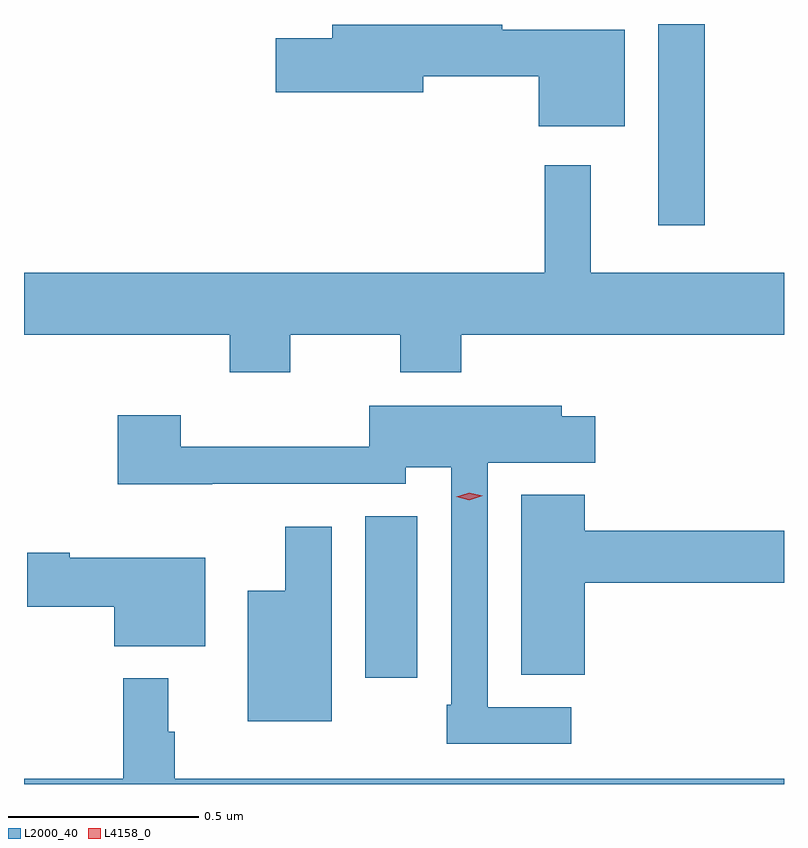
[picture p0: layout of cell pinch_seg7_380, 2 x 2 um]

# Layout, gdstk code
import gdstk
lib = gdstk.Library(unit=1e-6, precision=1e-09)
def R(c, l, rs):  # rectangles x0, y0, x1, y1
    for r in rs: c.add(gdstk.rectangle(r[:2], r[2:], *l))
def P(c, l, *ps):  # polygons
    for p in ps: c.add(gdstk.Polygon(p, *l))
L2000_40 = (2000, 40)
L4158_0 = (4158, 0)

pinch_seg7_380 = lib.new_cell('pinch_seg7_380')
R(pinch_seg7_380, L2000_40, [(492.8,1013.034,492.937,1013.459), (493.571,1014.225,493.693,1014.754)])
P(pinch_seg7_380, L2000_40, [(493.483,1014.739),(493.16,1014.739),(493.16,1014.752),(492.713,1014.752),(492.713,1014.716),(492.564,1014.716),(492.564,1014.574),(492.952,1014.574),(492.952,1014.616),(493.256,1014.616),(493.256,1014.485),(493.483,1014.485)],
  [(492.603,1013.936),(492.892,1013.936),(492.892,1013.837),(493.052,1013.837),(493.052,1013.936),(493.902,1013.936),(493.902,1014.1),(493.393,1014.1),(493.393,1014.382),(493.272,1014.382),(493.272,1014.1),(491.902,1014.1),(491.902,1013.936),(492.443,1013.936),(492.443,1013.837),(492.603,1013.837)],
  [(493.342,1012.956),(493.122,1012.956),(493.122,1013.6),(493.405,1013.6),(493.405,1013.722),(493.317,1013.722),(493.317,1013.749),(492.81,1013.749),(492.81,1013.642),(492.314,1013.642),(492.314,1013.725),(492.149,1013.725),(492.149,1013.543),(492.397,1013.543),(492.397,1013.544),(492.906,1013.544),(492.906,1013.588),(493.026,1013.588),(493.026,1012.963),(493.014,1012.963),(493.014,1012.86),(493.342,1012.86)],
  [(493.378,1013.284),(493.902,1013.284),(493.902,1013.42),(493.378,1013.42),(493.378,1013.515),(493.211,1013.515),(493.211,1013.041),(493.378,1013.041)],
  [(492.712,1013.431),(492.59,1013.431),(492.59,1013.263),(492.491,1013.263),(492.491,1012.919),(492.712,1012.919)],
  [(492.379,1013.35),(492.022,1013.35),(492.022,1013.363),(491.91,1013.363),(491.91,1013.221),(492.14,1013.221),(492.14,1013.117),(492.379,1013.117)],
  [(493.902,1012.768),(492.299,1012.768),(492.299,1012.892),(492.281,1012.892),(492.281,1013.032),(492.163,1013.032),(492.163,1012.768),(491.902,1012.768),(491.902,1012.754),(493.902,1012.754)])
P(pinch_seg7_380, L4158_0, [(493.074,1013.501),(493.039,1013.51),(493.039,1013.51),(493.039,1013.51),(493.074,1013.521),(493.109,1013.513),(493.109,1013.513),(493.109,1013.512)])

lib.write_gds('pinch_seg7_380.gds')
